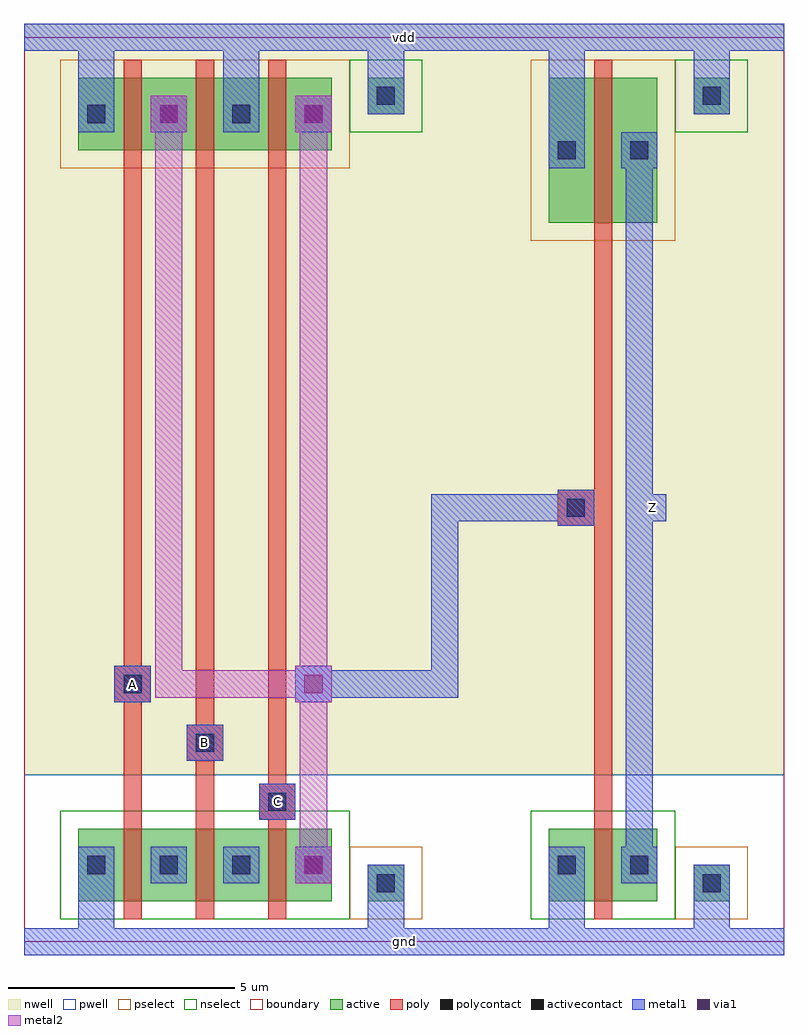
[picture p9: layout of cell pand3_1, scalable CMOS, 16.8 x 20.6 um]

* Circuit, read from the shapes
.subckt pand3_1 A B C Z gnd vdd
M1 pnand3_1_0/nmos_m1_w1_600_a_p_3/D A gnd gnd nfet w=1.6u l=0.4u
M2 pnand3_1_0/nmos_m1_w1_600_a_p_4/D B pnand3_1_0/nmos_m1_w1_600_a_p_3/D gnd nfet w=1.6u l=0.4u
M3 pinv_3_1/A C pnand3_1_0/nmos_m1_w1_600_a_p_4/D gnd nfet w=1.6u l=0.4u
M4 Z pinv_3_1/A gnd gnd nfet w=1.6u l=0.4u
M5 pinv_3_1/A A vdd vdd pfet w=1.6u l=0.4u
M6 vdd B pinv_3_1/A vdd pfet w=1.6u l=0.4u
M7 pinv_3_1/A C vdd vdd pfet w=1.6u l=0.4u
M8 Z pinv_3_1/A vdd vdd pfet w=3.2u l=0.4u
.ends

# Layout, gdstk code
import gdstk
lib = gdstk.Library(unit=1e-6, precision=1e-09)
def R(c, l, rs):  # rectangles x0, y0, x1, y1
    for r in rs: c.add(gdstk.rectangle(r[:2], r[2:], *l))
def A(c, l, x, y, w, h, nx, ny, dx, dy):  # array of equal rectangles
    R(c, l, [(x+i*dx, y+j*dy, x+i*dx+w, y+j*dy+h) for i in range(nx) for j in range(ny)])
pwell = (41, 0)
nwell = (42, 0)
active = (43, 0)
pselect = (44, 0)
nselect = (45, 0)
poly = (46, 0)
polycontact = (47, 0)
activecontact = (48, 0)
metal1 = (49, 0)
via1 = (50, 0)
metal2 = (51, 0)
boundary = (63, 0)

contact_9 = lib.new_cell('contact_9')
R(contact_9, nwell, [(-1.2,-1.2,2,2)])
R(contact_9, active, [(0,0,0.8,0.8)])
R(contact_9, pselect, [(-0.4,-0.4,1.2,1.2)])
R(contact_9, activecontact, [(0.2,0.2,0.6,0.6)])
R(contact_9, metal1, [(0,0,0.8,0.8)])

pmos_m1_w1_600_a_p = lib.new_cell('pmos_m1_w1_600_a_p')
R(pmos_m1_w1_600_a_p, nwell, [(-1.2,-1.2,3.6,2.8)])
R(pmos_m1_w1_600_a_p, active, [(0,0,2.4,1.6)])
R(pmos_m1_w1_600_a_p, pselect, [(-0.4,-0.4,2.8,2)])
R(pmos_m1_w1_600_a_p, poly, [(1,-0.4,1.4,2), (1,-0.4,1.4,2)])
R(pmos_m1_w1_600_a_p, metal1, [(0,0.4,0.8,1.2), (1.6,0.4,2.4,1.2)])
pmos_m1_w1_600_a_p.add(gdstk.Reference(contact_9, (0,0.4)))
pmos_m1_w1_600_a_p.add(gdstk.Reference(contact_9, (1.6,0.4)))
pmos_m1_w1_600_a_p.add(gdstk.Label('G', (1.2,0.8), layer=46, texttype=0))
pmos_m1_w1_600_a_p.add(gdstk.Label('S', (0.4,0.8), layer=49, texttype=0))
pmos_m1_w1_600_a_p.add(gdstk.Label('D', (2,0.8), layer=49, texttype=0))

contact_14 = lib.new_cell('contact_14')
R(contact_14, pwell, [(-1.2,-1.2,2,2)])
R(contact_14, active, [(0,0,0.8,0.8)])
R(contact_14, nselect, [(-0.4,-0.4,1.2,1.2)])
R(contact_14, activecontact, [(0.2,0.2,0.6,0.6)])
R(contact_14, metal1, [(0,0,0.8,0.8)])

nmos_m1_w1_600_a_p = lib.new_cell('nmos_m1_w1_600_a_p')
R(nmos_m1_w1_600_a_p, pwell, [(-1.2,-1.2,3.6,2.8)])
R(nmos_m1_w1_600_a_p, active, [(0,0,2.4,1.6)])
R(nmos_m1_w1_600_a_p, nselect, [(-0.4,-0.4,2.8,2)])
R(nmos_m1_w1_600_a_p, poly, [(1,-0.4,1.4,2), (1,-0.4,1.4,2)])
R(nmos_m1_w1_600_a_p, metal1, [(0,0.4,0.8,1.2), (1.6,0.4,2.4,1.2)])
nmos_m1_w1_600_a_p.add(gdstk.Reference(contact_14, (0,0.4)))
nmos_m1_w1_600_a_p.add(gdstk.Reference(contact_14, (1.6,0.4)))
nmos_m1_w1_600_a_p.add(gdstk.Label('G', (1.2,0.8), layer=46, texttype=0))
nmos_m1_w1_600_a_p.add(gdstk.Label('S', (0.4,0.8), layer=49, texttype=0))
nmos_m1_w1_600_a_p.add(gdstk.Label('D', (2,0.8), layer=49, texttype=0))

contact_15 = lib.new_cell('contact_15')
R(contact_15, nwell, [(-1.2,-1.2,2,2)])
R(contact_15, active, [(0,0,0.8,0.8)])
R(contact_15, nselect, [(-0.4,-0.4,1.2,1.2)])
R(contact_15, activecontact, [(0.2,0.2,0.6,0.6)])
R(contact_15, metal1, [(0,0,0.8,0.8)])

contact_16 = lib.new_cell('contact_16')
R(contact_16, pwell, [(-1.2,-1.2,2,2)])
R(contact_16, active, [(0,0,0.8,0.8)])
R(contact_16, pselect, [(-0.4,-0.4,1.2,1.2)])
R(contact_16, activecontact, [(0.2,0.2,0.6,0.6)])
R(contact_16, metal1, [(0,0,0.8,0.8)])

contact_10 = lib.new_cell('contact_10')
R(contact_10, poly, [(0,0,0.8,0.8)])
R(contact_10, polycontact, [(0.2,0.2,0.6,0.6)])
R(contact_10, metal1, [(0,0,0.8,0.8)])

contact_18 = lib.new_cell('contact_18')
R(contact_18, metal1, [(0,0,0.8,0.8)])
R(contact_18, via1, [(0.2,0.2,0.6,0.6)])
R(contact_18, metal2, [(0,0,0.8,0.8)])

pnand3_1 = lib.new_cell('pnand3_1')
R(pnand3_1, pwell, [(0,-0.3,10.4,3.7)])
R(pnand3_1, nwell, [(0,3.7,10.4,20.3)])
A(pnand3_1, poly, 2.2, 0.5, 0.4, 16.6, 3, 1, 1.6, 0)
R(pnand3_1, poly, [(5.4,2.7,5.6,3.5), (3.8,4,4,4.8), (2.2,5.3,2.4,6.1)])
R(pnand3_1, metal1, [(0,-0.3,10.4,0.3), (1.2,-0.3,2,1.3), (7.6,0,8.4,1.3), (5.2,2.7,6,3.5), (3.6,4,4.4,4.8), (2,5.3,2.8,6.1), (6,5.3,6.8,6.1), (1.2,17.9,2,20.3), (4.4,17.9,5.2,20.3), (7.6,18.7,8.4,20), (0,19.7,10.4,20.3)])
R(pnand3_1, metal2, [(6.1,2.1,6.7,17.9), (6.1,2.1,6.7,5.7), (2.9,5.4,3.5,6), (3.2,5.4,6.4,6), (6.1,5.4,6.7,6), (2.9,5.7,3.5,17.9)])
R(pnand3_1, boundary, [(0,0,10.4,20)])
pnand3_1.add(gdstk.Reference(pmos_m1_w1_600_a_p, (1.2,17.5)))
pnand3_1.add(gdstk.Reference(pmos_m1_w1_600_a_p, (2.8,17.5)))
pnand3_1.add(gdstk.Reference(pmos_m1_w1_600_a_p, (4.4,17.5)))
pnand3_1.add(gdstk.Reference(nmos_m1_w1_600_a_p, (1.2,0.9)))
pnand3_1.add(gdstk.Reference(nmos_m1_w1_600_a_p, (2.8,0.9)))
pnand3_1.add(gdstk.Reference(nmos_m1_w1_600_a_p, (4.4,0.9)))
pnand3_1.add(gdstk.Reference(contact_15, (7.6,18.3)))
pnand3_1.add(gdstk.Reference(contact_16, (7.6,0.9)))
pnand3_1.add(gdstk.Reference(contact_10, (5.2,2.7)))
pnand3_1.add(gdstk.Reference(contact_10, (3.6,4)))
pnand3_1.add(gdstk.Reference(contact_10, (2,5.3)))
pnand3_1.add(gdstk.Reference(contact_18, (2.8,17.9)))
pnand3_1.add(gdstk.Reference(contact_18, (6,17.9)))
pnand3_1.add(gdstk.Reference(contact_18, (6,1.3)))
pnand3_1.add(gdstk.Reference(contact_18, (6,5.3)))
pnand3_1.add(gdstk.Label('gnd', (5.2,0), layer=49, texttype=0))
pnand3_1.add(gdstk.Label('vdd', (5.2,20), layer=49, texttype=0))
pnand3_1.add(gdstk.Label('C', (5.6,3.1), layer=49, texttype=0))
pnand3_1.add(gdstk.Label('B', (4,4.4), layer=49, texttype=0))
pnand3_1.add(gdstk.Label('A', (2.4,5.7), layer=49, texttype=0))
pnand3_1.add(gdstk.Label('Z', (6.4,5.7), layer=49, texttype=0))

pmos_m1_w3_200_a_p = lib.new_cell('pmos_m1_w3_200_a_p')
R(pmos_m1_w3_200_a_p, nwell, [(-1.2,-1.2,3.6,4.4)])
R(pmos_m1_w3_200_a_p, active, [(0,0,2.4,3.2)])
R(pmos_m1_w3_200_a_p, pselect, [(-0.4,-0.4,2.8,3.6)])
R(pmos_m1_w3_200_a_p, poly, [(1,-0.4,1.4,3.6), (1,-0.4,1.4,3.6)])
R(pmos_m1_w3_200_a_p, metal1, [(0,1.2,0.8,2), (1.6,1.2,2.4,2)])
pmos_m1_w3_200_a_p.add(gdstk.Reference(contact_9, (0,1.2)))
pmos_m1_w3_200_a_p.add(gdstk.Reference(contact_9, (1.6,1.2)))
pmos_m1_w3_200_a_p.add(gdstk.Label('G', (1.2,1.6), layer=46, texttype=0))
pmos_m1_w3_200_a_p.add(gdstk.Label('S', (0.4,1.6), layer=49, texttype=0))
pmos_m1_w3_200_a_p.add(gdstk.Label('D', (2,1.6), layer=49, texttype=0))

pinv_3 = lib.new_cell('pinv_3')
R(pinv_3, pwell, [(0,-0.3,6.4,3.7)])
R(pinv_3, nwell, [(0,3.7,6.4,20.3)])
R(pinv_3, poly, [(2.2,0.5,2.6,15.5), (1.8,9.2,2.2,10)])
R(pinv_3, metal1, [(0,-0.3,6.4,0.3), (1.2,-0.3,2,1.3), (4.4,0,5.2,1.3), (2.9,1.3,3.5,17.9), (1.4,9.2,2.2,10), (3.2,9.3,3.8,9.9), (1.2,17.1,2,20.3), (4.4,18.7,5.2,20), (0,19.7,6.4,20.3)])
R(pinv_3, boundary, [(0,0,6.4,20)])
pinv_3.add(gdstk.Reference(pmos_m1_w3_200_a_p, (1.2,15.9)))
pinv_3.add(gdstk.Reference(nmos_m1_w1_600_a_p, (1.2,0.9)))
pinv_3.add(gdstk.Reference(contact_15, (4.4,18.3)))
pinv_3.add(gdstk.Reference(contact_16, (4.4,0.9)))
pinv_3.add(gdstk.Reference(contact_10, (1.4,9.2)))
pinv_3.add(gdstk.Label('gnd', (3.2,0), layer=49, texttype=0))
pinv_3.add(gdstk.Label('vdd', (3.2,20), layer=49, texttype=0))
pinv_3.add(gdstk.Label('A', (1.8,9.6), layer=49, texttype=0))
pinv_3.add(gdstk.Label('Z', (3.5,9.6), layer=49, texttype=0))

pand3_1 = lib.new_cell('pand3_1')
R(pand3_1, metal1, [(0,-0.3,16.8,0.3), (5.2,2.7,6,3.5), (3.6,4,4.4,4.8), (2,5.3,2.8,6.1), (6.4,5.4,9.3,6), (9,5.4,9.6,6), (9,5.7,9.6,9.6), (9,9.3,9.6,9.9), (9.3,9.3,12.2,9.9), (13.6,9.3,14.2,9.9), (0,19.7,16.8,20.3)])
R(pand3_1, boundary, [(0,0,16.8,20)])
pand3_1.add(gdstk.Reference(pnand3_1, (0,0)))
pand3_1.add(gdstk.Reference(pinv_3, (10.4,0)))
pand3_1.add(gdstk.Label('vdd', (8.4,20), layer=49, texttype=0))
pand3_1.add(gdstk.Label('gnd', (8.4,0), layer=49, texttype=0))
pand3_1.add(gdstk.Label('Z', (13.9,9.6), layer=49, texttype=0))
pand3_1.add(gdstk.Label('A', (2.4,5.7), layer=49, texttype=0))
pand3_1.add(gdstk.Label('B', (4,4.4), layer=49, texttype=0))
pand3_1.add(gdstk.Label('C', (5.6,3.1), layer=49, texttype=0))

lib.write_gds('pand3_1.gds')
